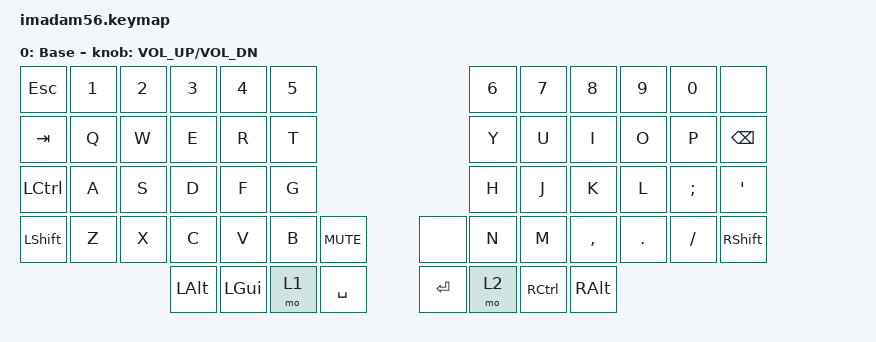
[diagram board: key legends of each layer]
/*
 * Copyright (c) 2020 The ZMK Contributors
 *
 * SPDX-License-Identifier: MIT
 */

#include <behaviors.dtsi>
#include <dt-bindings/zmk/keys.h>
#include <dt-bindings/zmk/bt.h>
#include <dt-bindings/zmk/ext_power.h>

/ {
  keymap {
    compatible = "zmk,keymap";

  base {
      display-name = "Base";
      bindings = <
&kp ESC &kp N1 &kp N2   &kp N3   &kp N4    &kp N5                           &kp N6 &kp N7    &kp N8    &kp N9   &kp N0   &none
&kp TAB   &kp Q  &kp W    &kp E    &kp R     &kp T                            &kp Y  &kp U     &kp I     &kp O    &kp P    &kp BSPC
&kp LCTRL   &kp A  &kp S    &kp D    &kp F     &kp G                            &kp H  &kp J     &kp K     &kp L    &kp SEMI &kp SQT
&kp LSHFT &kp Z  &kp X    &kp C    &kp V     &kp B      &kp C_MUTE &none      &kp N  &kp M     &kp COMMA &kp DOT  &kp FSLH &kp RSHFT
                 &kp LALT &kp LGUI &mo 1  &kp SPACE                            &kp RET &mo 2  &kp RCTRL &kp RALT 
            >;

            sensor-bindings = <&inc_dec_kp C_VOL_UP C_VOL_DN>;
          };
  };
};
